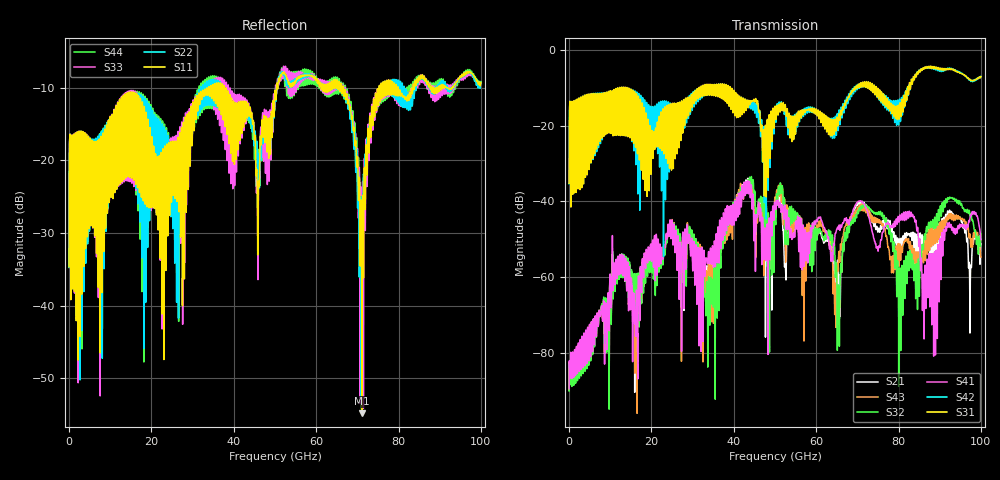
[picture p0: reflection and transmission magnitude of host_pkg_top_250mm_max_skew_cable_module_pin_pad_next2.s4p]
# Hz S RI R 50
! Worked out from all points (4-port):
!   10000 points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, 10 MHz to 100 GHz, reference 50 ohm
!   strongest paths, dB at 10 MHz, 25.01 GHz, 50.01 GHz, 75.01 GHz, 100 GHz:
!     S31: -35.2, -15.3, -15.0, -10.3, -7.1
!     S42: -35.3, -14.4, -15.0, -11.9, -7.0
!     S41: -89.4, -44.9, -40.3, -53.1, -50.0
!     S32: -90.0, -45.1, -41.0, -43.3, -48.5
!     S43: -89.7, -44.8, -38.8, -45.1, -54.7
!     S21: -89.7, -45.1, -41.8, -48.1, -51.2
!   lowest |S11| = -54.8 dB at 71.09 GHz (marker M1), VSWR 1.00, Z = 50.1 + j0.126 ohm
!   |S11| at or under -10 dB: start of sweep to 33.46 GHz; 38.11 GHz to 50.33 GHz (12.22 GHz wide, 27.6 % of centre); 66.59 GHz to 75.28 GHz (8.692 GHz wide, 12.3 % of centre)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
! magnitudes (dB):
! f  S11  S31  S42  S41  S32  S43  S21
! 10 MHz  -34.7  -35.2  -35.3  -89.4  -90.0  -89.7  -89.7
! 24.61 GHz  -17.6  -14.4  -14.4  -45.9  -46.1  -45.4  -46.3
! 33.3 GHz  -10.4  -11.2  -10.4  -55.3  -64.1  -59.0  -58.5
! 43.85 GHz  -12.8  -14.5  -14.6  -35.0  -33.6  -34.5  -34.0
! 65.44 GHz  -10.0  -17.3  -18.7  -47.1  -62.6  -54.3  -65.5
! 71.09 GHz  -54.8  -9.8  -8.8  -40.0  -41.8  -42.0  -40.0
! 100 GHz  -9.2  -7.1  -7.0  -50.0  -48.5  -54.7  -51.2
